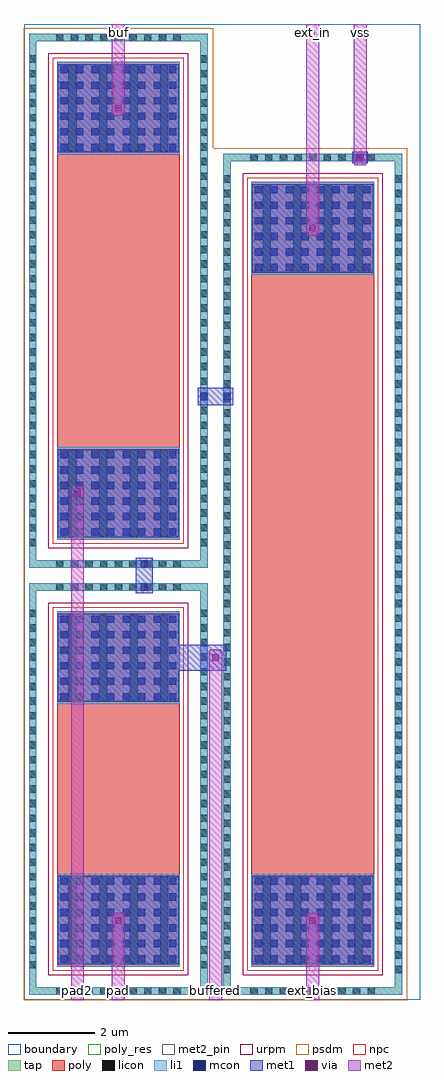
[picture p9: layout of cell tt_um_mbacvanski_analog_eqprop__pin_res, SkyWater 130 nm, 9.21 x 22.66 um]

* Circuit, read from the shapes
.subckt tt_um_mbacvanski_analog_eqprop__pin_res buf buffered ext_bias ext_in pad pad2 vss
XR1 buffered pad vss sky130_fd_pr__res_xhigh_po w=2.85 l=3.97
XR2 buf pad2 vss sky130_fd_pr__res_xhigh_po w=2.85 l=6.82
XR3 ext_in ext_bias vss sky130_fd_pr__res_xhigh_po w=2.85 l=13.94
.ends

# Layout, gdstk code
import gdstk
lib = gdstk.Library(unit=1e-6, precision=1e-09)
def R(c, l, rs):  # rectangles x0, y0, x1, y1
    for r in rs: c.add(gdstk.rectangle(r[:2], r[2:], *l))
def A(c, l, x, y, w, h, nx, ny, dx, dy):  # array of equal rectangles
    R(c, l, [(x+i*dx, y+j*dy, x+i*dx+w, y+j*dy+h) for i in range(nx) for j in range(ny)])
tap = (65, 44)
poly_res = (66, 13)
poly = (66, 20)
licon = (66, 44)
li1 = (67, 20)
mcon = (67, 44)
met1 = (68, 20)
via = (68, 44)
met2_pin = (69, 16)
met2 = (69, 20)
urpm = (79, 20)
psdm = (94, 20)
npc = (95, 20)
boundary = (235, 4)

tt_um_mbacvanski_analog_ = lib.new_cell('tt_um_mbacvanski_analog_eqprop__c2_rpin3k')
R(tt_um_mbacvanski_analog_, tap, [(-2.075,-4.775,2.075,-4.605), (-2.075,-4.605,-1.905,4.605), (1.905,-4.605,2.075,4.605), (-2.075,4.605,2.075,4.775)])
R(tt_um_mbacvanski_analog_, poly_res, [(-1.425,-2.045,1.425,2.045)])
R(tt_um_mbacvanski_analog_, poly, [(-1.425,-4.125,1.425,4.125)])
A(tt_um_mbacvanski_analog_, licon, -1.445, -4.775, 0.17, 0.17, 9, 2, 0.34, 9.38)
A(tt_um_mbacvanski_analog_, licon, -2.075, -4.165, 0.17, 0.17, 1, 25, 0, 0.34)
A(tt_um_mbacvanski_analog_, licon, 1.905, -4.165, 0.17, 0.17, 1, 25, 0, 0.34)
A(tt_um_mbacvanski_analog_, licon, -1.16, -4.045, 0.19, 2, 4, 2, 0.71, 6.09)
R(tt_um_mbacvanski_analog_, li1, [(-2.075,-4.775,2.075,-4.605), (-2.075,-4.605,-1.905,4.605), (1.905,-4.605,2.075,4.605), (-1.425,-4.125,1.425,-1.965), (-1.425,1.965,1.425,4.125), (-2.075,4.605,2.075,4.775)])
A(tt_um_mbacvanski_analog_, mcon, -1.345, -4.03, 0.17, 0.17, 8, 6, 0.36, 0.36)
A(tt_um_mbacvanski_analog_, mcon, -1.345, 2.055, 0.17, 0.17, 8, 6, 0.36, 0.36)
R(tt_um_mbacvanski_analog_, met1, [(-1.405,-4.065,1.405,-2.02), (-1.405,2.02,1.405,4.065)])
R(tt_um_mbacvanski_analog_, urpm, [(-1.625,-4.325,1.625,4.325)])
R(tt_um_mbacvanski_analog_, psdm, [(-2.2,-4.9,2.2,4.9)])
R(tt_um_mbacvanski_analog_, npc, [(-1.52,-4.22,1.52,4.22)])
R(tt_um_mbacvanski_analog_, boundary, [(-1.99,-4.69,1.99,4.69)])
tt_um_mbacvanski_analog_.add(gdstk.Label('R2', (0,-3.95), layer=67, texttype=5))
tt_um_mbacvanski_analog_.add(gdstk.Label('R1', (0,3.95), layer=67, texttype=5))
tt_um_mbacvanski_analog_.add(gdstk.Label('B', (0,-4.69), layer=67, texttype=5))

c_tt_um_mbacvanski_analog_ = lib.new_cell('tt_um_mbacvanski_analog_eqprop__c2_rpin5k')
R(c_tt_um_mbacvanski_analog_, tap, [(-2.075,-6.2,2.075,-6.03), (-2.075,-6.03,-1.905,6.03), (1.905,-6.03,2.075,6.03), (-2.075,6.03,2.075,6.2)])
R(c_tt_um_mbacvanski_analog_, poly_res, [(-1.425,-3.47,1.425,3.47)])
R(c_tt_um_mbacvanski_analog_, poly, [(-1.425,-5.55,1.425,5.55)])
A(c_tt_um_mbacvanski_analog_, licon, -1.445, -6.2, 0.17, 0.17, 9, 2, 0.34, 12.23)
A(c_tt_um_mbacvanski_analog_, licon, -2.075, -5.695, 0.17, 0.17, 1, 34, 0, 0.34)
A(c_tt_um_mbacvanski_analog_, licon, 1.905, -5.695, 0.17, 0.17, 1, 34, 0, 0.34)
A(c_tt_um_mbacvanski_analog_, licon, -1.16, -5.47, 0.19, 2, 4, 2, 0.71, 8.94)
R(c_tt_um_mbacvanski_analog_, li1, [(-2.075,-6.2,2.075,-6.03), (-2.075,-6.03,-1.905,6.03), (1.905,-6.03,2.075,6.03), (-1.425,-5.55,1.425,-3.39), (-1.425,3.39,1.425,5.55), (-2.075,6.03,2.075,6.2)])
A(c_tt_um_mbacvanski_analog_, mcon, -1.345, -5.455, 0.17, 0.17, 8, 6, 0.36, 0.36)
A(c_tt_um_mbacvanski_analog_, mcon, -1.345, 3.48, 0.17, 0.17, 8, 6, 0.36, 0.36)
R(c_tt_um_mbacvanski_analog_, met1, [(-1.405,-5.49,1.405,-3.445), (-1.405,3.445,1.405,5.49)])
R(c_tt_um_mbacvanski_analog_, urpm, [(-1.625,-5.75,1.625,5.75)])
R(c_tt_um_mbacvanski_analog_, psdm, [(-2.2,-6.325,2.2,6.325)])
R(c_tt_um_mbacvanski_analog_, npc, [(-1.52,-5.645,1.52,5.645)])
R(c_tt_um_mbacvanski_analog_, boundary, [(-1.99,-6.115,1.99,6.115)])
c_tt_um_mbacvanski_analog_.add(gdstk.Label('R2', (0,-5.375), layer=67, texttype=5))
c_tt_um_mbacvanski_analog_.add(gdstk.Label('R1', (0,5.375), layer=67, texttype=5))
c_tt_um_mbacvanski_analog_.add(gdstk.Label('B', (0,-6.115), layer=67, texttype=5))

c_tt_um_mbacvanski_analog__ = lib.new_cell('tt_um_mbacvanski_analog_eqprop__c2_rpin10k')
R(c_tt_um_mbacvanski_analog__, tap, [(-2.075,-9.76,2.075,-9.59), (-2.075,-9.59,-1.905,9.59), (1.905,-9.59,2.075,9.59), (-2.075,9.59,2.075,9.76)])
R(c_tt_um_mbacvanski_analog__, poly_res, [(-1.425,-7.03,1.425,7.03)])
R(c_tt_um_mbacvanski_analog__, poly, [(-1.425,-9.11,1.425,9.11)])
A(c_tt_um_mbacvanski_analog__, licon, -1.445, -9.76, 0.17, 0.17, 9, 2, 0.34, 19.35)
A(c_tt_um_mbacvanski_analog__, licon, -2.075, -9.265, 0.17, 0.17, 1, 55, 0, 0.34)
A(c_tt_um_mbacvanski_analog__, licon, 1.905, -9.265, 0.17, 0.17, 1, 55, 0, 0.34)
A(c_tt_um_mbacvanski_analog__, licon, -1.16, -9.03, 0.19, 2, 4, 2, 0.71, 16.06)
R(c_tt_um_mbacvanski_analog__, li1, [(-2.075,-9.76,2.075,-9.59), (-2.075,-9.59,-1.905,9.59), (1.905,-9.59,2.075,9.59), (-1.425,-9.11,1.425,-6.95), (-1.425,6.95,1.425,9.11), (-2.075,9.59,2.075,9.76)])
A(c_tt_um_mbacvanski_analog__, mcon, -1.345, -9.015, 0.17, 0.17, 8, 6, 0.36, 0.36)
A(c_tt_um_mbacvanski_analog__, mcon, -1.345, 7.04, 0.17, 0.17, 8, 6, 0.36, 0.36)
R(c_tt_um_mbacvanski_analog__, met1, [(-1.405,-9.05,1.405,-7.005), (-1.405,7.005,1.405,9.05)])
R(c_tt_um_mbacvanski_analog__, urpm, [(-1.625,-9.31,1.625,9.31)])
R(c_tt_um_mbacvanski_analog__, psdm, [(-2.2,-9.885,2.2,9.885)])
R(c_tt_um_mbacvanski_analog__, npc, [(-1.52,-9.205,1.52,9.205)])
R(c_tt_um_mbacvanski_analog__, boundary, [(-1.99,-9.675,1.99,9.675)])
c_tt_um_mbacvanski_analog__.add(gdstk.Label('R2', (0,-8.935), layer=67, texttype=5))
c_tt_um_mbacvanski_analog__.add(gdstk.Label('R1', (0,8.935), layer=67, texttype=5))
c_tt_um_mbacvanski_analog__.add(gdstk.Label('B', (0,-9.675), layer=67, texttype=5))

c_tt_um_mbacvanski_analog___ = lib.new_cell('tt_um_mbacvanski_analog_eqprop__pin_res')
R(c_tt_um_mbacvanski_analog___, li1, [(2.705,9.495,2.875,9.665), (2.705,10.025,2.875,10.195), (4.095,13.915,4.265,14.085), (4.625,13.915,4.795,14.085), (7.715,19.465,7.885,19.635)])
R(c_tt_um_mbacvanski_analog___, mcon, [(2.705,9.495,2.875,9.665), (2.705,10.025,2.875,10.195), (4.095,13.915,4.265,14.085), (4.625,13.915,4.795,14.085), (7.715,19.465,7.885,19.635)])
R(c_tt_um_mbacvanski_analog___, met1, [(2.01,1.71,2.37,1.97), (6.52,1.71,6.88,1.97), (3.39,7.64,4.695,8.24), (2.59,9.43,2.99,10.26), (1.06,11.62,1.42,11.88), (4.03,13.8,4.86,14.2), (6.52,17.78,6.88,18.04), (7.62,19.42,7.98,19.68), (2.01,20.57,2.37,20.83)])
R(c_tt_um_mbacvanski_analog___, via, [(2.115,1.765,2.265,1.915), (6.625,1.765,6.775,1.915), (4.37,7.865,4.52,8.015), (1.165,11.675,1.315,11.825), (6.625,17.835,6.775,17.985), (7.725,19.475,7.875,19.625), (2.115,20.625,2.265,20.775)])
A(c_tt_um_mbacvanski_analog___, met2_pin, 2.14, 0.15, 0.1, 0.1, 3, 1, 2.255, 0)
R(c_tt_um_mbacvanski_analog___, met2_pin, [(1.19,0.15,1.29,0.25), (2.14,22.4,2.24,22.5), (6.65,22.4,6.75,22.5), (7.75,22.4,7.85,22.5)])
R(c_tt_um_mbacvanski_analog___, met2, [(1.09,0,1.39,11.9), (2.04,0,2.34,1.99), (4.295,0,4.595,8.09), (6.55,0,6.85,1.99), (2.06,1.99,2.32,2.02), (6.57,1.99,6.83,2.02), (4.315,8.09,4.575,8.12), (1.11,11.9,1.37,11.93), (6.57,17.73,6.83,17.76), (6.55,17.76,6.85,22.65), (7.67,19.37,7.93,19.4), (7.65,19.4,7.95,22.65), (2.06,20.52,2.32,20.55), (2.04,20.55,2.34,22.65)])
R(c_tt_um_mbacvanski_analog___, psdm, [(4.39,-0.01,4.5,9.79), (-0.01,9.79,4.5,9.9), (4.39,9.9,4.5,19.76)])
R(c_tt_um_mbacvanski_analog___, boundary, [(0,0,9.2,22.65)])
c_tt_um_mbacvanski_analog___.add(gdstk.Reference(tt_um_mbacvanski_analog_, (2.19,4.89)))
c_tt_um_mbacvanski_analog___.add(gdstk.Reference(c_tt_um_mbacvanski_analog_, (2.19,16.225)))
c_tt_um_mbacvanski_analog___.add(gdstk.Reference(c_tt_um_mbacvanski_analog__, (6.7,9.875)))
c_tt_um_mbacvanski_analog___.add(gdstk.Label('buf', (2.19,22.45), layer=69, texttype=5))
c_tt_um_mbacvanski_analog___.add(gdstk.Label('pad2', (1.24,0.2), layer=69, texttype=5))
c_tt_um_mbacvanski_analog___.add(gdstk.Label('ext_bias', (6.7,0.2), layer=69, texttype=5))
c_tt_um_mbacvanski_analog___.add(gdstk.Label('vss', (7.8,22.45), layer=69, texttype=5))
c_tt_um_mbacvanski_analog___.add(gdstk.Label('buffered', (4.445,0.2), layer=69, texttype=5))
c_tt_um_mbacvanski_analog___.add(gdstk.Label('ext_in', (6.7,22.45), layer=69, texttype=5))
c_tt_um_mbacvanski_analog___.add(gdstk.Label('pad', (2.19,0.2), layer=69, texttype=5))

lib.write_gds('tt_um_mbacvanski_analog_eqprop__pin_res.gds')
